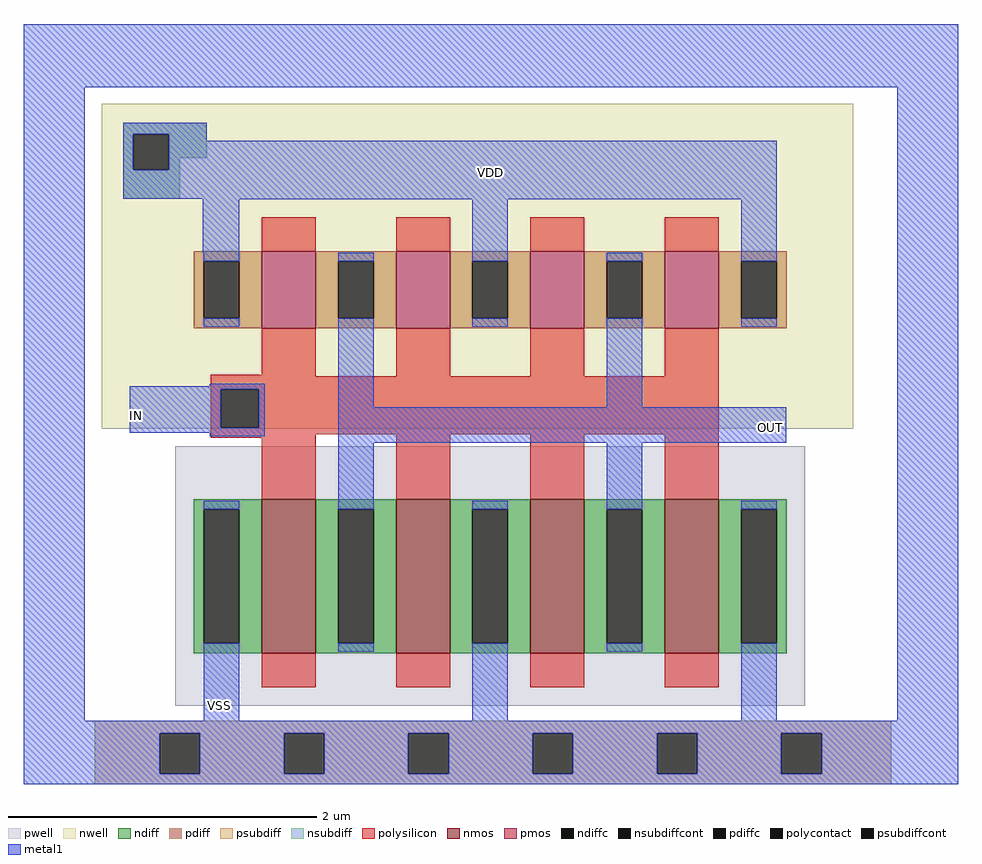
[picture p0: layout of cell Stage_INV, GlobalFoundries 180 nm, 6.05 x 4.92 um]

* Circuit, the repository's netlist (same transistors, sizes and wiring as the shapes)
* NGSPICE file created from Stage_INV.ext - technology: gf180mcuC

.subckt pmos_3p3_HDJZPK a_n52_n50# a_n384_n50# a_296_n50# a_226_n94# a_n296_n94# w_n470_n180#
+ a_52_n94# a_n226_n50# a_122_n50# a_n122_n94#
X0 a_n52_n50# a_n122_n94# a_n226_n50# w_n470_n180# pfet_03v3 ad=0.13p pd=1.02u as=0.13p ps=1.02u w=0.5u l=0.35u
X1 a_122_n50# a_52_n94# a_n52_n50# w_n470_n180# pfet_03v3 ad=0.13p pd=1.02u as=0.13p ps=1.02u w=0.5u l=0.35u
X2 a_296_n50# a_226_n94# a_122_n50# w_n470_n180# pfet_03v3 ad=0.22p pd=1.88u as=0.13p ps=1.02u w=0.5u l=0.35u
X3 a_n226_n50# a_n296_n94# a_n384_n50# w_n470_n180# pfet_03v3 ad=0.13p pd=1.02u as=0.22p ps=1.88u w=0.5u l=0.35u
.ends

.subckt nmos_3p3_VDSZE6 a_122_n100# a_n52_n100# a_n122_n144# a_296_n100# a_n226_n100#
+ a_n296_n144# a_n384_n100# a_52_n144# a_226_n144# VSUBS
X0 a_296_n100# a_226_n144# a_122_n100# VSUBS nfet_03v3 ad=0.44p pd=2.88u as=0.26p ps=1.52u w=1u l=0.35u
X1 a_n226_n100# a_n296_n144# a_n384_n100# VSUBS nfet_03v3 ad=0.26p pd=1.52u as=0.44p ps=2.88u w=1u l=0.35u
X2 a_n52_n100# a_n122_n144# a_n226_n100# VSUBS nfet_03v3 ad=0.26p pd=1.52u as=0.26p ps=1.52u w=1u l=0.35u
X3 a_122_n100# a_52_n144# a_n52_n100# VSUBS nfet_03v3 ad=0.26p pd=1.52u as=0.26p ps=1.52u w=1u l=0.35u
.ends

.subckt Stage_INV IN OUT VDD VSS
Xpmos_3p3_HDJZPK_0 VDD VDD VDD IN IN VDD IN OUT OUT IN pmos_3p3_HDJZPK
Xnmos_3p3_VDSZE6_0 OUT VSS IN VSS OUT IN VSS IN IN VSS nmos_3p3_VDSZE6
.ends

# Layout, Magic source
magic
tech gf180mcuC
magscale 1 10
<< nwell >>
rect 1118 808 2091 1229
<< psubdiff >>
rect 1109 414 2140 430
rect 1109 361 1193 414
rect 1245 361 1354 414
rect 1406 361 1515 414
rect 1567 361 1676 414
rect 1728 361 1837 414
rect 1889 361 1998 414
rect 2050 361 2140 414
rect 1109 348 2140 361
<< nsubdiff >>
rect 1146 1189 1254 1204
rect 1146 1143 1159 1189
rect 1205 1159 1254 1189
rect 1205 1143 1219 1159
rect 1146 1106 1219 1143
<< psubdiffcont >>
rect 1193 361 1245 414
rect 1354 361 1406 414
rect 1515 361 1567 414
rect 1676 361 1728 414
rect 1837 361 1889 414
rect 1998 361 2050 414
<< nsubdiffcont >>
rect 1159 1143 1205 1189
<< polysilicon >>
rect 1325 878 1395 894
rect 1259 876 1395 878
rect 1499 876 1569 894
rect 1673 876 1743 894
rect 1847 876 1917 894
rect 1259 859 1917 876
rect 1259 809 1272 859
rect 1321 809 1917 859
rect 1259 801 1917 809
rect 1259 796 1395 801
rect 1325 761 1395 796
rect 1499 761 1569 801
rect 1673 761 1743 801
rect 1847 761 1917 801
<< polycontact >>
rect 1272 809 1321 859
<< metal1 >>
rect 1017 1250 2227 1332
rect 1017 430 1096 1250
rect 1146 1189 1254 1204
rect 1146 1143 1159 1189
rect 1205 1181 1254 1189
rect 1205 1143 1992 1181
rect 1146 1106 1992 1143
rect 1249 1105 1992 1106
rect 1249 1036 1296 1105
rect 1598 1036 1644 1105
rect 1946 1036 1992 1105
rect 1258 863 1329 866
rect 1154 859 1329 863
rect 1154 809 1272 859
rect 1321 809 1329 859
rect 1154 803 1329 809
rect 1258 798 1329 803
rect 1424 836 1470 940
rect 1772 836 1818 940
rect 1424 790 2004 836
rect 1424 715 1470 790
rect 1772 715 1818 790
rect 1250 430 1296 519
rect 1598 430 1644 521
rect 1946 430 1992 519
rect 2148 430 2227 1250
rect 1017 414 2227 430
rect 1017 361 1193 414
rect 1245 361 1354 414
rect 1406 361 1515 414
rect 1567 361 1676 414
rect 1728 361 1837 414
rect 1889 361 1998 414
rect 2050 361 2227 414
rect 1017 348 2227 361
use nmos_3p3_VDSZE6  nmos_3p3_VDSZE6_0
transform 1 0 1621 0 1 617
box -408 -168 408 168
use pmos_3p3_HDJZPK  pmos_3p3_HDJZPK_0
transform 1 0 1621 0 1 988
box -470 -180 470 180
<< labels >>
flabel metal1 1984 810 1984 810 0 FreeSans 640 0 0 0 OUT
port 1 nsew
flabel metal1 1163 825 1163 825 0 FreeSans 640 0 0 0 IN
port 0 nsew
flabel metal1 1270 450 1270 450 0 FreeSans 640 0 0 0 VSS
port 4 nsew
flabel metal1 1621 1140 1621 1140 0 FreeSans 640 0 0 0 VDD
port 3 nsew
<< end >>

# cell nmos_3p3_VDSZE6: kit device nmos_3p3, w 1 l 0.35 m 1 nf 4 diffcov 100 polycov 100 guard 0 glc 0 grc 0 gtc 0 gbc 0 tbcov 100 rlcov 100 topc 0 botc 0 poverlap 0 doverlap 1 lmin 0.28 wmin 0.22 full_metal 0 compatible {nmos_3p3 nmos_6p0 nmos_6p0_nat}

# cell pmos_3p3_HDJZPK: kit device pmos_3p3, w 0.5 l 0.35 m 1 nf 4 diffcov 100 polycov 100 guard 0 glc 0 grc 0 gtc 0 gbc 0 tbcov 100 rlcov 100 topc 0 botc 0 poverlap 0 doverlap 1 lmin 0.28 wmin 0.22 full_metal 0 compatible {pmos_3p3 pmos_6p0}
